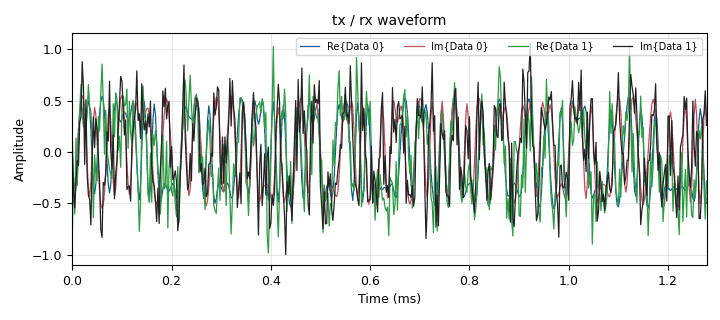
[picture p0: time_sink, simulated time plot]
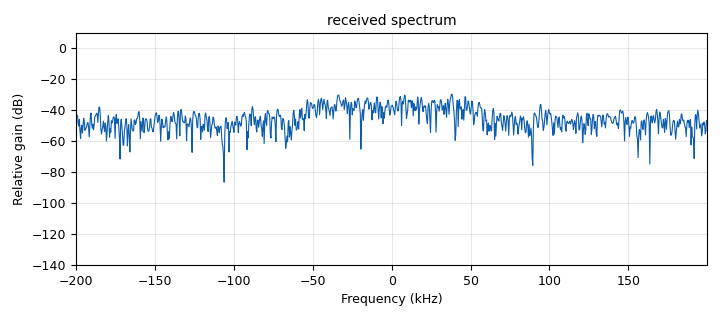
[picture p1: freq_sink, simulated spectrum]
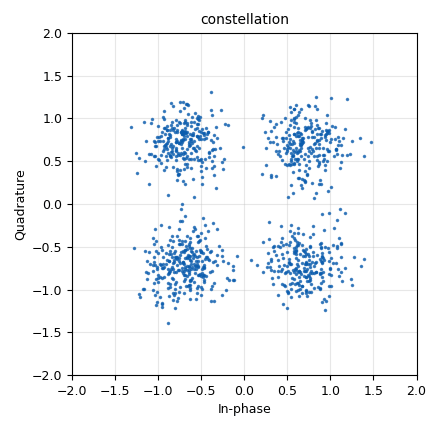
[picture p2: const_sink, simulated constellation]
options:
  parameters:
    author: CogniTwin-SDR
    description: Visual demo of the CogniTwin-SDR GNU Radio PHY (QPSK, RRC, AWGN, Gaussian jammer). Same block chain and parameters as src/gnuradio_phy/flowgraph.py; decisions come from experiments/gnuradio_demo.py.
    generate_options: qt_gui
    id: cognitwin_phy_demo
    output_language: python
    title: CogniTwin-SDR GNU Radio PHY demo
  states: {}

blocks:
- name: sps
  id: variable
  parameters:
    comment: samples per symbol (flowgraph.py default)
    value: '4'
  states: {}
- name: symbol_rate
  id: variable
  parameters:
    comment: exported samples per second (config.SYMBOL_RATE)
    value: '100000'
  states: {}
- name: samp_rate
  id: variable
  parameters:
    value: symbol_rate * sps
  states: {}
- name: rrc_taps
  id: variable
  parameters:
    comment: unit-energy RRC, rolloff 0.35, span 11 symbols (flowgraph.rrc_taps)
    value: '[t / math.sqrt(sum(x * x for x in firdes.root_raised_cosine(1.0, sps, 1.0, 0.35, 11 * sps + 1))) for t in firdes.root_raised_cosine(1.0, sps, 1.0, 0.35, 11 * sps + 1)]'
  states: {}
- name: snr_db
  id: variable_qtgui_range
  parameters:
    comment: Es/N0 per symbol, dB
    gui_hint: 0,0,1,1
    label: Es/N0 [dB]
    start: '-5'
    step: '0.5'
    stop: '30'
    value: '10'
  states: {}
- name: jammer_power
  id: variable_qtgui_range
  parameters:
    comment: Gaussian jammer power J (relative to the unit-energy symbol)
    gui_hint: 0,1,1,1
    label: Jammer J
    start: '0'
    step: '0.01'
    stop: '1'
    value: '0'
  states: {}
- name: import_math
  id: import
  parameters:
    imports: import math
  states: {}
- name: random_symbols
  id: analog_random_source_x
  parameters:
    comment: QPSK symbol indices 0..3
    max: '4'
    min: '0'
    num_samps: '100000'
    repeat: 'True'
    type: byte
  states: {}
- name: qpsk_map
  id: digital_chunks_to_symbols_xx
  parameters:
    comment: same points as receiver.constellation_points('QPSK')
    dimension: '1'
    in_type: byte
    out_type: complex
    symbol_table: '[(-1-1j)/math.sqrt(2), (-1+1j)/math.sqrt(2), (1-1j)/math.sqrt(2), (1+1j)/math.sqrt(2)]'
  states: {}
- name: rrc_tx
  id: interp_fir_filter_xxx
  parameters:
    comment: pulse shaping
    interp: sps
    taps: rrc_taps
    type: ccf
  states: {}
- name: throttle
  id: blocks_throttle
  parameters:
    comment: GUI pacing only (not part of the measurement flowgraph)
    samples_per_second: samp_rate
    type: complex
  states: {}
- name: noise
  id: analog_noise_source_x
  parameters:
    amp: math.sqrt(10 ** (-snr_db / 10))
    comment: complex amplitude a -> power a^2
    noise_type: analog.GR_GAUSSIAN
    seed: '5'
    type: complex
  states: {}
- name: jammer
  id: analog_noise_source_x
  parameters:
    amp: math.sqrt(jammer_power)
    comment: broadband Gaussian jammer
    noise_type: analog.GR_GAUSSIAN
    seed: '6'
    type: complex
  states: {}
- name: channel_sum
  id: blocks_add_xx
  parameters:
    comment: rx = tx + noise + jammer
    num_inputs: '3'
    type: complex
  states: {}
- name: rrc_rx
  id: fir_filter_xxx
  parameters:
    comment: matched filter, decimating to the symbol instants (total delay 11*sps is a multiple of sps)
    decim: sps
    taps: rrc_taps
    type: ccf
  states: {}
- name: time_sink
  id: qtgui_time_sink_x
  parameters:
    autoscale: 'True'
    comment: tx (shaped) and rx waveforms
    gui_hint: 1,0,1,2
    name: '"tx / rx waveform"'
    nconnections: '2'
    size: '512'
    srate: samp_rate
    type: complex
  states: {}
- name: freq_sink
  id: qtgui_freq_sink_x
  parameters:
    bw: samp_rate
    comment: received spectrum
    fc: '0'
    fftsize: '1024'
    gui_hint: 2,0,1,1
    name: '"received spectrum"'
    type: complex
  states: {}
- name: const_sink
  id: qtgui_const_sink_x
  parameters:
    comment: constellation at the symbol instants
    gui_hint: 2,1,1,1
    name: '"constellation"'
    size: '1024'
    type: complex
  states: {}

connections:
- [random_symbols, '0', qpsk_map, '0']
- [qpsk_map, '0', rrc_tx, '0']
- [rrc_tx, '0', throttle, '0']
- [throttle, '0', channel_sum, '0']
- [noise, '0', channel_sum, '1']
- [jammer, '0', channel_sum, '2']
- [throttle, '0', time_sink, '0']
- [channel_sum, '0', time_sink, '1']
- [channel_sum, '0', freq_sink, '0']
- [channel_sum, '0', rrc_rx, '0']
- [rrc_rx, '0', const_sink, '0']

metadata:
  file_format: 1
  grc_version: 3.10.9.2
